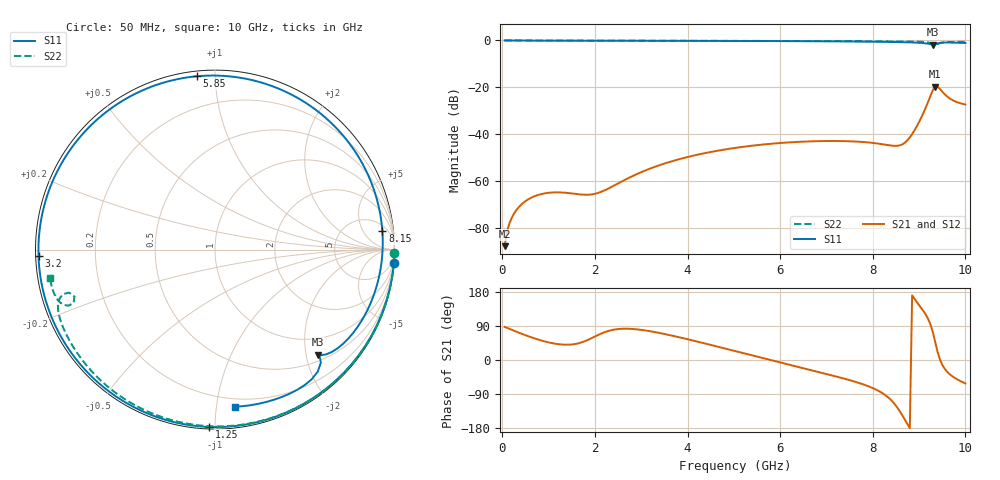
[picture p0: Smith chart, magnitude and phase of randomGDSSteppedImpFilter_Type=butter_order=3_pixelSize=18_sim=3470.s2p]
! freq	dB(S11)	phase(S11)	dB(S12)	phase(S12)
!  dB(S21)	phase(S21)	dB(S22)	phase(S22)
!S-par simulation data
#  GHz  S  DB  R 50
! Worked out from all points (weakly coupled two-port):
!   200 points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, 50 MHz to 10 GHz, reference 50 ohm
!   highest |S21| = -19.64 dB at 9.35 GHz (marker M1); lowest = -87.6 dB at 50 MHz (marker M2)
!   lowest |S11| = -1.7 dB at 9.3 GHz (marker M3), VSWR 10.10, Z = 31.4 - j112 ohm
!   |S11| at or under -10 dB: nowhere
!   |S22| runs from -1.7 to 0.0 dB; largest |S21 - S12| = 0
!   S11 on the Smith chart (normalised r, x): 50 MHz: 0, -27; 1.25 GHz: 0.01, -0.97; 3.2 GHz: 0.01, -0.02; 5.85 GHz: 0.03, +0.90; 8.15 GHz: 8, +14; 10 GHz: 0.14, -1.13
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0.05  -0.00 -4.2  -87.62 87.4  -87.62 87.4  -0.00 -1.0
0.55  -0.06 -44.2  -67.80 63.2  -67.80 63.2  -0.02 -11.0
0.9  -0.08 -69.5  -65.19 49.5  -65.19 49.5  -0.02 -18.0
1.25  -0.10 -91.9  -64.72 41.2  -64.72 41.2  -0.03 -24.9
1.75  -0.11 -119.2  -65.69 48.1  -65.69 48.1  -0.04 -34.6
2.45  -0.13 -150.2  -61.43 80.9  -61.43 80.9  -0.06 -47.9
3.2  -0.14 -177.8  -54.51 75.8  -54.51 75.8  -0.08 -61.8
3.4  -0.15 175.4  -53.08 71.2  -53.08 71.2  -0.09 -65.4
4.2  -0.17 149.4  -48.73 48.9  -48.73 48.9  -0.11 -79.5
5.05  -0.21 122.4  -45.71 22.9  -45.71 22.9  -0.14 -93.9
5.85  -0.26 95.9  -43.92 -1.9  -43.92 -1.9  -0.18 -107.0
6.7  -0.32 65.4  -42.95 -27.8  -42.95 -27.8  -0.23 -120.5
7.5  -0.42 34.0  -42.94 -53.2  -42.94 -53.2  -0.29 -133.1
8.15  -0.56 6.2  -44.02 -83.3  -44.02 -83.3  -0.36 -143.3
8.35  -0.61 -2.8  -44.64 -100.6  -44.64 -100.6  -0.38 -146.6
8.6  -0.71 -14.3  -44.58 -138.3  -44.58 -138.3  -0.41 -150.7
8.8  -0.81 -23.9  -41.30 -179.8  -41.30 -179.8  -0.45 -154.2
9.05  -1.05 -36.2  -32.73 136.7  -32.73 136.7  -0.57 -159.1
9.3  -1.73 -45.5  -21.01 71.9  -21.01 71.9  -1.45 -163.6
9.35  -1.62 -45.4  -19.64 46.4  -19.64 46.4  -1.67 -161.5
9.6  -0.86 -59.7  -23.77 -30.1  -23.77 -30.1  -0.73 -162.2
10  -1.08 -82.6  -27.29 -61.9  -27.29 -61.9  -0.60 -170.2
